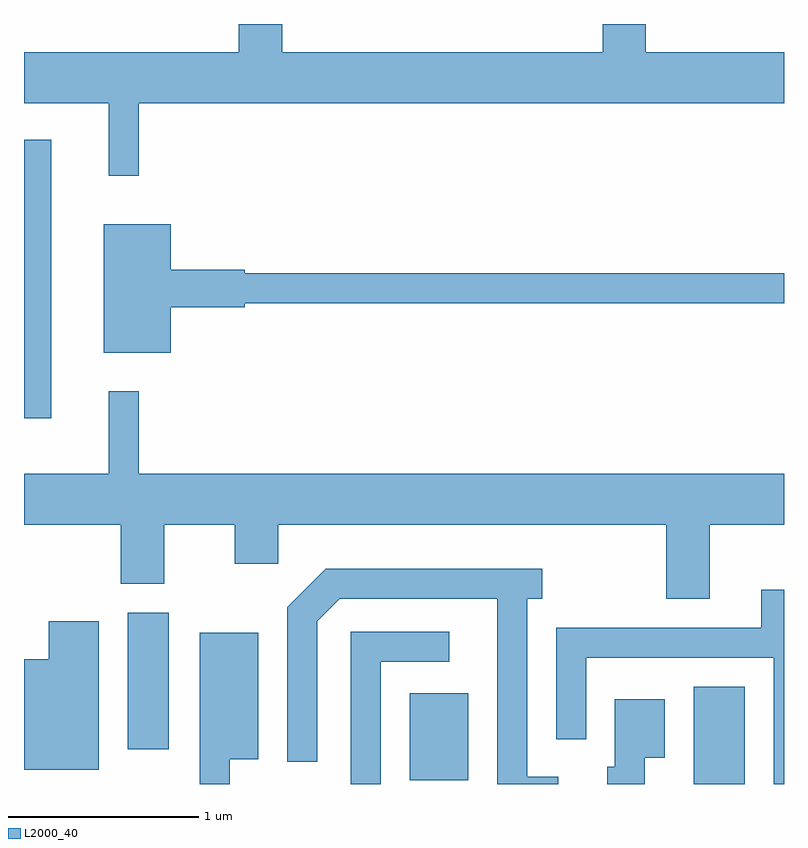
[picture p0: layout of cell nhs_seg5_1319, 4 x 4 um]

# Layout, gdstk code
import gdstk
lib = gdstk.Library(unit=1e-6, precision=1e-09)
def R(c, l, rs):  # rectangles x0, y0, x1, y1
    for r in rs: c.add(gdstk.rectangle(r[:2], r[2:], *l))
def P(c, l, *ps):  # polygons
    for p in ps: c.add(gdstk.Polygon(p, *l))
L2000_40 = (2000, 40)

nhs_seg5_1319 = lib.new_cell('nhs_seg5_1319')
R(nhs_seg5_1319, L2000_40, [(227.136,1482.072,227.404,1482.584), (225.641,1482.091,225.949,1482.549), (224.156,1482.256,224.374,1482.974), (223.611,1483.996,223.754,1485.463)])
P(nhs_seg5_1319, L2000_40, [(224.214,1485.656),(227.611,1485.656),(227.611,1485.924),(226.884,1485.924),(226.884,1486.072),(226.656,1486.072),(226.656,1485.924),(224.969,1485.924),(224.969,1486.072),(224.741,1486.072),(224.741,1485.924),(223.611,1485.924),(223.611,1485.656),(224.056,1485.656),(224.056,1485.273),(224.214,1485.273)],
  [(224.384,1484.581),(224.774,1484.581),(224.774,1484.601),(227.611,1484.601),(227.611,1484.759),(224.774,1484.759),(224.774,1484.779),(224.384,1484.779),(224.384,1485.019),(224.031,1485.019),(224.031,1484.341),(224.384,1484.341)],
  [(227.219,1483.436),(227.611,1483.436),(227.611,1483.704),(224.214,1483.704),(224.214,1484.138),(224.056,1484.138),(224.056,1483.704),(223.611,1483.704),(223.611,1483.436),(224.121,1483.436),(224.121,1483.126),(224.349,1483.126),(224.349,1483.436),(224.721,1483.436),(224.721,1483.231),(224.949,1483.231),(224.949,1483.436),(226.991,1483.436),(226.991,1483.046),(227.219,1483.046)],
  [(226.423,1482.109),(226.259,1482.109),(226.259,1483.046),(226.338,1483.046),(226.338,1483.204),(225.199,1483.204),(224.996,1483.002),(224.996,1482.188),(225.154,1482.188),(225.154,1482.929),(225.272,1483.046),(226.101,1483.046),(226.101,1482.072),(226.423,1482.072)],
  [(227.611,1483.094),(227.491,1483.094),(227.491,1482.894),(226.411,1482.894),(226.411,1482.308),(226.569,1482.308),(226.569,1482.736),(227.556,1482.736),(227.556,1482.072),(227.611,1482.072)],
  [(224.004,1482.929),(223.741,1482.929),(223.741,1482.729),(223.611,1482.729),(223.611,1482.146),(224.004,1482.146)],
  [(225.489,1482.716),(225.848,1482.716),(225.848,1482.874),(225.331,1482.874),(225.331,1482.072),(225.489,1482.072)],
  [(224.694,1482.201),(224.844,1482.201),(224.844,1482.869),(224.536,1482.869),(224.536,1482.072),(224.694,1482.072)],
  [(226.879,1482.211),(226.984,1482.211),(226.984,1482.519),(226.721,1482.519),(226.721,1482.164),(226.681,1482.164),(226.681,1482.072),(226.879,1482.072)])

lib.write_gds('nhs_seg5_1319.gds')
